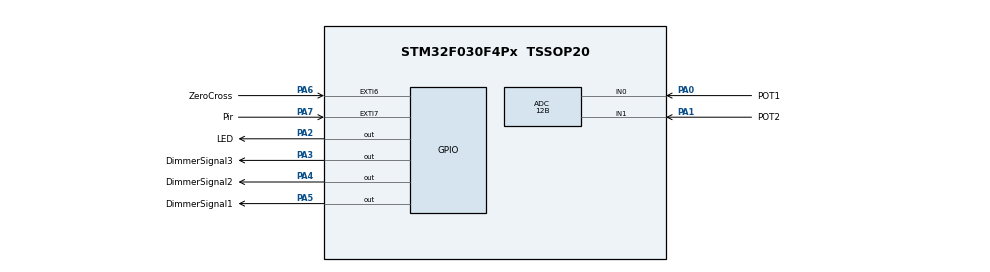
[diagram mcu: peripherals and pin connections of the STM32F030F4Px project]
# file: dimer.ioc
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ADC.ClockPrescaler=ADC_CLOCK_SYNC_PCLK_DIV4
ADC.ContinuousConvMode=ENABLE
ADC.DMAContinuousRequests=ENABLE
ADC.Resolution=ADC_RESOLUTION_12B
ADC.SamplingTime=ADC_SAMPLETIME_239CYCLES_5
Dma.ADC.0.Direction=DMA_PERIPH_TO_MEMORY
Dma.ADC.0.Instance=DMA1_Channel1
Dma.ADC.0.MemDataAlignment=DMA_MDATAALIGN_HALFWORD
Dma.ADC.0.MemInc=DMA_MINC_ENABLE
Dma.ADC.0.Mode=DMA_CIRCULAR
Dma.ADC.0.PeriphDataAlignment=DMA_PDATAALIGN_HALFWORD
Dma.ADC.0.PeriphInc=DMA_PINC_DISABLE
Dma.ADC.0.Priority=DMA_PRIORITY_LOW
Dma.Request0=ADC
Mcu.Family=STM32F0
Mcu.Name=STM32F030F4Px
Mcu.Package=TSSOP20
NVIC.DMA1_Channel1_IRQn=true\:0\:0\:false\:false\:true\:false\:true\:true
NVIC.EXTI4_15_IRQn=true\:0\:0\:false\:false\:true\:true\:true\:true
NVIC.TIM1_BRK_UP_TRG_COM_IRQn=true\:0\:0\:false\:false\:true\:true\:true\:true
NVIC.TIM1_CC_IRQn=true\:0\:0\:false\:false\:true\:true\:true\:true
PA0.GPIO_Label=POT1
PA0.Mode=IN0
PA0.Signal=ADC_IN0
PA1.GPIO_Label=POT2
PA1.Mode=IN1
PA1.Signal=ADC_IN1
PA13.Mode=Serial_Wire
PA13.Signal=SYS_SWDIO
PA14.Mode=Serial_Wire
PA14.Signal=SYS_SWCLK
PA2.GPIO_Label=LED
PA2.Signal=GPIO_Output
PA3.GPIO_Label=DimmerSignal3
PA3.Signal=GPIO_Output
PA4.GPIO_Label=DimmerSignal2
PA4.Signal=GPIO_Output
PA5.GPIO_Label=DimmerSignal1
PA5.Signal=GPIO_Output
PA6.GPIO_Label=ZeroCross
PA6.GPIO_ModeDefaultEXTI=GPIO_MODE_IT_RISING
PA6.Signal=GPXTI6
PA7.GPIO_Label=Pir
PA7.GPIO_ModeDefaultEXTI=GPIO_MODE_IT_RISING_FALLING
PA7.GPIO_PuPd=GPIO_PULLDOWN
PA7.Signal=GPXTI7
ProjectManager.HeapSize=0x200
ProjectManager.StackSize=0x400
ProjectManager.TargetToolchain=STM32CubeIDE
TIM1.Period=99
TIM1.Prescaler=7
VP_TIM1_VS_ClockSourceINT.Mode=Internal
board=custom

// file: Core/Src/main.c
/* USER CODE BEGIN Header */
/**
 ******************************************************************************
 * @file           : main.c
 * @brief          : Main program body
 ******************************************************************************
 * @attention
 *
 * Copyright (c) 2023 STMicroelectronics.
 * All rights reserved.
 *
 * This software is licensed under terms that can be found in the LICENSE file
 * in the root directory of this software component.
 * If no LICENSE file comes with this software, it is provided AS-IS.
 *
 ******************************************************************************
 */
/* USER CODE END Header */
#include "main.h"

/* USER CODE BEGIN Includes */
#include "stdbool.h"
/* USER CODE END Includes */

ADC_HandleTypeDef hadc;
DMA_HandleTypeDef hdma_adc;

TIM_HandleTypeDef htim1;

void SystemClock_Config(void);
static void MX_GPIO_Init(void);
static void MX_DMA_Init(void);
static void MX_TIM1_Init(void);
static void MX_ADC_Init(void);

/* USER CODE BEGIN 0 */

uint8_t interrupt_Counter=0;
uint8_t brightness1=100;
uint8_t brightness2=100;
uint8_t brightness3=100;
uint8_t lamp_Number=0;
bool pir_State=0;
uint16_t timer=0;
uint16_t amount_of_Delay = 0;
uint16_t brightness_Range = 0;
uint16_t min_Pot = 0;
uint16_t max_Pot = 4095;
uint16_t max_Brightness = 35;
uint16_t min_Brightness = 85;
uint16_t max_Time = 700;
uint16_t min_Time = 100;
uint16_t adc_Data[2];//adc_data[0] = Turn on and off delay & adc_data[1] = brightness

uint32_t MAP(uint16_t au32_IN, uint16_t au32_INmin, uint16_t au32_INmax, uint16_t au32_OUTmin, uint16_t au32_OUTmax)
{
	return ((((au32_IN - au32_INmin)*(au32_OUTmax - au32_OUTmin))/(au32_INmax - au32_INmin)) + au32_OUTmin);
}

void HAL_GPIO_EXTI_Callback(uint16_t GPIO_Pin)
{
	if(GPIO_Pin == ZeroCross_Pin)
	{
		htim1.Instance->CNT=0;
		interrupt_Counter=0;
	}
	else  if(GPIO_Pin == Pir_Pin)//Sensor status
	{
		pir_State = !pir_State;
		lamp_Number=0;
	}

	brightness_Range = MAP(adc_Data[1],min_Pot,max_Pot,min_Brightness,max_Brightness);
}

void HAL_TIM_PeriodElapsedCallback(TIM_HandleTypeDef*htim)
{
	if (interrupt_Counter==brightness1)
	{
		HAL_GPIO_WritePin(DimmerSignal1_GPIO_Port,DimmerSignal1_Pin, 1);
		HAL_GPIO_WritePin(DimmerSignal1_GPIO_Port,DimmerSignal1_Pin, 0);
	}
	if (interrupt_Counter==brightness2)
	{
		HAL_GPIO_WritePin(DimmerSignal2_GPIO_Port,DimmerSignal2_Pin, 1);
		HAL_GPIO_WritePin(DimmerSignal2_GPIO_Port,DimmerSignal2_Pin, 0);
	}
	if (interrupt_Counter==brightness3)
	{
		HAL_GPIO_WritePin(DimmerSignal3_GPIO_Port,DimmerSignal3_Pin, 1);
		HAL_GPIO_WritePin(DimmerSignal3_GPIO_Port,DimmerSignal3_Pin, 0);
	}
	interrupt_Counter++;//Interrupt count
	timer++;
}

void on(void) //To turn on the lamp
{
	if(lamp_Number==0)
	{
		if(brightness1>brightness_Range)//The brightness of the first lamp
			brightness1--;
		else if(brightness1<=brightness_Range)
			lamp_Number=1;
	}

	else if(lamp_Number==1)
	{
		if(brightness2>brightness_Range)//The brightness of the second lamp
			brightness2--;
		else if(brightness2<=brightness_Range)
			lamp_Number=2;
	}

	else if(lamp_Number==2)
	{
		if(brightness3>brightness_Range)//The brightness of the third lamp
			brightness3--;
		else if(brightness3<=brightness_Range)
			lamp_Number=3;
	}
}
void off(void)//To turn off the lamp
{
	if(lamp_Number==0)
	{
		if(brightness1<100)//The brightness of the first lamp
			brightness1++;
		else if(brightness1>=100)
			lamp_Number=1;
	}

	else if(lamp_Number==1)
	{
		if(brightness2<100)//The brightness of the second lamp
			brightness2++;
		else if(brightness2>=100)
			lamp_Number=2;
	}

	else if(lamp_Number==2)
	{
		if(brightness3<100)//The brightness of the third lamp
			brightness3++;
		else if(brightness3>=100)
			lamp_Number=3;
	}
}
/* USER CODE END 0 */

int main(void)
{

	/* MCU Configuration--------------------------------------------------------*/

	/* Reset of all peripherals, Initializes the Flash interface and the Systick. */
	HAL_Init();

	/* Configure the system clock */
	SystemClock_Config();

	/* Initialize all configured peripherals */
	MX_GPIO_Init();
	MX_DMA_Init();
	MX_TIM1_Init();
	MX_ADC_Init();
	/* USER CODE BEGIN 2 */
	HAL_ADCEx_Calibration_Start(&hadc);
	HAL_ADC_Start_DMA(&hadc,(uint32_t *)adc_Data, 2);
	HAL_TIM_Base_Start_IT(&htim1);
	/* USER CODE END 2 */

	/* Infinite loop */
	/* USER CODE BEGIN WHILE */
	while (1)
	{
		amount_of_Delay = MAP(adc_Data[0],min_Pot,max_Pot,min_Time,max_Time);

		if(timer>=amount_of_Delay)//To control the lighting time of the lamp
		{
			if(pir_State)
				on();
			else if(!pir_State)
				off();

			timer=0;
		}
	}
	/* USER CODE END WHILE */

}

void SystemClock_Config(void)
{
	RCC_OscInitTypeDef RCC_OscInitStruct = {0};
	RCC_ClkInitTypeDef RCC_ClkInitStruct = {0};

	/** Initializes the RCC Oscillators according to the specified parameters
	 * in the RCC_OscInitTypeDef structure.
	 */
	RCC_OscInitStruct.OscillatorType = RCC_OSCILLATORTYPE_HSI;
	RCC_OscInitStruct.HSIState = RCC_HSI_ON;
	RCC_OscInitStruct.HSICalibrationValue = RCC_HSICALIBRATION_DEFAULT;
	RCC_OscInitStruct.PLL.PLLState = RCC_PLL_NONE;
	if (HAL_RCC_OscConfig(&RCC_OscInitStruct) != HAL_OK)
	{
		Error_Handler();
	}

	/** Initializes the CPU, AHB and APB buses clocks
	 */
	RCC_ClkInitStruct.ClockType = RCC_CLOCKTYPE_HCLK|RCC_CLOCKTYPE_SYSCLK
			|RCC_CLOCKTYPE_PCLK1;
	RCC_ClkInitStruct.SYSCLKSource = RCC_SYSCLKSOURCE_HSI;
	RCC_ClkInitStruct.AHBCLKDivider = RCC_SYSCLK_DIV1;
	RCC_ClkInitStruct.APB1CLKDivider = RCC_HCLK_DIV1;

	if (HAL_RCC_ClockConfig(&RCC_ClkInitStruct, FLASH_LATENCY_0) != HAL_OK)
	{
		Error_Handler();
	}
}

static void MX_ADC_Init(void)
{

	ADC_ChannelConfTypeDef sConfig = {0};

	/** Configure the global features of the ADC (Clock, Resolution, Data Alignment and number of conversion)
	 */
	hadc.Instance = ADC1;
	hadc.Init.ClockPrescaler = ADC_CLOCK_SYNC_PCLK_DIV4;
	hadc.Init.Resolution = ADC_RESOLUTION_12B;
	hadc.Init.DataAlign = ADC_DATAALIGN_RIGHT;
	hadc.Init.ScanConvMode = ADC_SCAN_DIRECTION_FORWARD;
	hadc.Init.EOCSelection = ADC_EOC_SINGLE_CONV;
	hadc.Init.LowPowerAutoWait = DISABLE;
	hadc.Init.LowPowerAutoPowerOff = DISABLE;
	hadc.Init.ContinuousConvMode = ENABLE;
	hadc.Init.DiscontinuousConvMode = DISABLE;
	hadc.Init.ExternalTrigConv = ADC_SOFTWARE_START;
	hadc.Init.ExternalTrigConvEdge = ADC_EXTERNALTRIGCONVEDGE_NONE;
	hadc.Init.DMAContinuousRequests = ENABLE;
	hadc.Init.Overrun = ADC_OVR_DATA_PRESERVED;
	if (HAL_ADC_Init(&hadc) != HAL_OK)
	{
		Error_Handler();
	}

	/** Configure for the selected ADC regular channel to be converted.
	 */
	sConfig.Channel = ADC_CHANNEL_0;
	sConfig.Rank = ADC_RANK_CHANNEL_NUMBER;
	sConfig.SamplingTime = ADC_SAMPLETIME_239CYCLES_5;
	if (HAL_ADC_ConfigChannel(&hadc, &sConfig) != HAL_OK)
	{
		Error_Handler();
	}

	/** Configure for the selected ADC regular channel to be converted.
	 */
	sConfig.Channel = ADC_CHANNEL_1;
	if (HAL_ADC_ConfigChannel(&hadc, &sConfig) != HAL_OK)
	{
		Error_Handler();
	}

}

static void MX_TIM1_Init(void)
{

	TIM_ClockConfigTypeDef sClockSourceConfig = {0};
	TIM_MasterConfigTypeDef sMasterConfig = {0};

	htim1.Instance = TIM1;
	htim1.Init.Prescaler = 7;
	htim1.Init.CounterMode = TIM_COUNTERMODE_UP;
	htim1.Init.Period = 99;
	htim1.Init.ClockDivision = TIM_CLOCKDIVISION_DIV1;
	htim1.Init.RepetitionCounter = 0;
	htim1.Init.AutoReloadPreload = TIM_AUTORELOAD_PRELOAD_DISABLE;
	if (HAL_TIM_Base_Init(&htim1) != HAL_OK)
	{
		Error_Handler();
	}
	sClockSourceConfig.ClockSource = TIM_CLOCKSOURCE_INTERNAL;
	if (HAL_TIM_ConfigClockSource(&htim1, &sClockSourceConfig) != HAL_OK)
	{
		Error_Handler();
	}
	sMasterConfig.MasterOutputTrigger = TIM_TRGO_RESET;
	sMasterConfig.MasterSlaveMode = TIM_MASTERSLAVEMODE_DISABLE;
	if (HAL_TIMEx_MasterConfigSynchronization(&htim1, &sMasterConfig) != HAL_OK)
	{
		Error_Handler();
	}

}

static void MX_DMA_Init(void)
{

	/* DMA controller clock enable */
	__HAL_RCC_DMA1_CLK_ENABLE();

	/* DMA interrupt init */
	/* DMA1_Channel1_IRQn interrupt configuration */
	HAL_NVIC_SetPriority(DMA1_Channel1_IRQn, 0, 0);
	HAL_NVIC_EnableIRQ(DMA1_Channel1_IRQn);

}

static void MX_GPIO_Init(void)
{
	GPIO_InitTypeDef GPIO_InitStruct = {0};

	/* GPIO Ports Clock Enable */
	__HAL_RCC_GPIOA_CLK_ENABLE();

	/*Configure GPIO pin Output Level */
	HAL_GPIO_WritePin(GPIOA, LED_Pin|DimmerSignal3_Pin|DimmerSignal2_Pin|DimmerSignal1_Pin, GPIO_PIN_RESET);

	/*Configure GPIO pins : LED_Pin DimmerSignal3_Pin DimmerSignal2_Pin DimmerSignal1_Pin */
	GPIO_InitStruct.Pin = LED_Pin|DimmerSignal3_Pin|DimmerSignal2_Pin|DimmerSignal1_Pin;
	GPIO_InitStruct.Mode = GPIO_MODE_OUTPUT_PP;
	GPIO_InitStruct.Pull = GPIO_NOPULL;
	GPIO_InitStruct.Speed = GPIO_SPEED_FREQ_LOW;
	HAL_GPIO_Init(GPIOA, &GPIO_InitStruct);

	/*Configure GPIO pin : ZeroCross_Pin */
	GPIO_InitStruct.Pin = ZeroCross_Pin;
	GPIO_InitStruct.Mode = GPIO_MODE_IT_RISING;
	GPIO_InitStruct.Pull = GPIO_NOPULL;
	HAL_GPIO_Init(ZeroCross_GPIO_Port, &GPIO_InitStruct);

	/*Configure GPIO pin : Pir_Pin */
	GPIO_InitStruct.Pin = Pir_Pin;
	GPIO_InitStruct.Mode = GPIO_MODE_IT_RISING_FALLING;
	GPIO_InitStruct.Pull = GPIO_PULLDOWN;
	HAL_GPIO_Init(Pir_GPIO_Port, &GPIO_InitStruct);

	/* EXTI interrupt init*/
	HAL_NVIC_SetPriority(EXTI4_15_IRQn, 0, 0);
	HAL_NVIC_EnableIRQ(EXTI4_15_IRQn);

}

void Error_Handler(void)
{
	__disable_irq();
	while (1)
	{
	}
}
